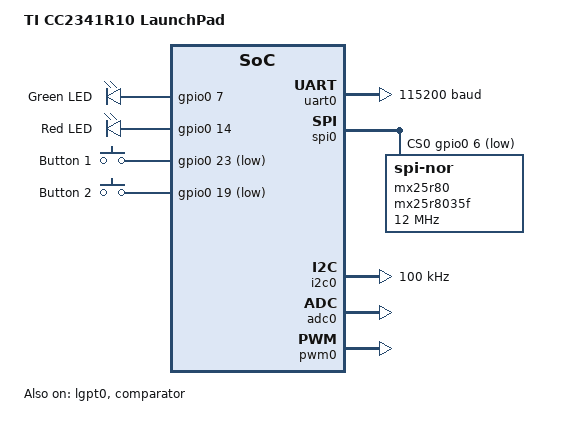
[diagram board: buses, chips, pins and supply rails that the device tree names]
/*
 * Copyright (c) 2026 Texas Instruments Incorporated
 *
 * SPDX-License-Identifier: Apache-2.0
 */

/dts-v1/;

#include <ti/cc2341r10.dtsi>
#include "lp_em_cc2341r10-pinctrl.dtsi"
#include <zephyr/dt-bindings/gpio/gpio.h>
#include <zephyr/dt-bindings/input/input-event-codes.h>

/ {
	model = "TI CC2341R10 LaunchPad";
	compatible = "ti,lp_em_cc2341r10";

	chosen {
		zephyr,sram = &sram0;
		zephyr,flash = &flash0;
		zephyr,code-partition = &slot0_partition;
		zephyr,console = &uart0;
		zephyr,shell-uart = &uart0;
	};

	aliases {
		led0 = &led0;
		led1 = &led1;
		sw0 = &btn0;
		sw1 = &btn1;
		watchdog0 = &wdt0;
		rtc = &rtc0;
	};

	leds {
		compatible = "gpio-leds";

		led0: led_0 {
			gpios = <&gpio0 7 GPIO_ACTIVE_HIGH>;
			label = "Green LED";
		};

		led1: led_1 {
			gpios = <&gpio0 14 GPIO_ACTIVE_HIGH>;
			label = "Red LED";
		};
	};

	keys {
		compatible = "gpio-keys";

		btn0: btn_0 {
			gpios = <&gpio0 23 (GPIO_ACTIVE_LOW | GPIO_PULL_UP)>;
			label = "Button 1";
			zephyr,code = <INPUT_KEY_0>;
		};

		btn1: btn_1 {
			gpios = <&gpio0 19 (GPIO_ACTIVE_LOW | GPIO_PULL_UP)>;
			label = "Button 2";
			zephyr,code = <INPUT_KEY_1>;
		};
	};

	lfxosc: lf_xosc {
		compatible = "ti,cc23x0-lf-xosc";
	};
};

&cpu0 {
	clock-frequency = <48000000>;
};

&uart0 {
	status = "okay";
	current-speed = <115200>;
	pinctrl-0 = <&uart0_rx_default &uart0_tx_default>;
	pinctrl-names = "default";
};

&spi0 {
	status = "okay";
	pinctrl-0 = <&spi0_sck_default
		     &spi0_pico_default
		     &spi0_poci_default
		     &spi0_cs_default>;
	pinctrl-1 = <&spi0_sck_sleep
		     &spi0_pico_sleep
		     &spi0_poci_sleep
		     &spi0_cs_sleep>;
	pinctrl-names = "default", "sleep";
	cs-gpios = <&gpio0 6 GPIO_ACTIVE_LOW>;

	mx25r80: mx25r8035f@0 {
		status = "okay";
		compatible = "jedec,spi-nor";
		reg = <0>;
		zephyr,pm-device-runtime-auto;
		spi-max-frequency = <12000000>;
		size = <0x800000>;
		jedec-id = [c2 28 14];
		has-dpd;
		dpd-wakeup-sequence = <30000 20 35000>;
		t-enter-dpd = <10000>;
		sfdp-bfp = [e5 20 f1 ff ff ff 7f 00 44 eb 08 6b 08 3b 04 bb
			    ee ff ff ff ff ff 00 ff ff ff 00 ff 0c 20 0f 52
			    10 d8 00 ff 23 72 f5 00 82 ed 04 b7 44 83 38 44
			    30 b0 30 b0 f7 c4 d5 5c 00 be 29 ff f0 d0 ff ff];
	};
};

&i2c0 {
	status = "okay";
	pinctrl-0 = <&i2c0_scl_default &i2c0_sda_default>;
	pinctrl-names = "default";
	clock-frequency = <100000>;
};

&lgpt0 {
	clk-prescale = <32>;
	status = "okay";
};

&adc0 {
	status = "okay";
	pinctrl-0 = <&adc0_ch0 &adc0_ch2>;
	pinctrl-names = "default";
};

&comparator {
	status = "okay";
	pinctrl-0 = <&lpcmp_pos0_default &lpcmp_out0_default>;
	pinctrl-names = "default";
	positive-mux-input = "VA_PAD_A1";
	negative-mux-input = "VDDD";
	input-division-factor = "VIN_1_2";
	division-input = "DIVISION_INPUT_NEGATIVE";
	enable-output-pin;
};

&pwm0 {
	status = "okay";
	pinctrl-0 = <&pwm0_default>;
	pinctrl-names = "default";
};
